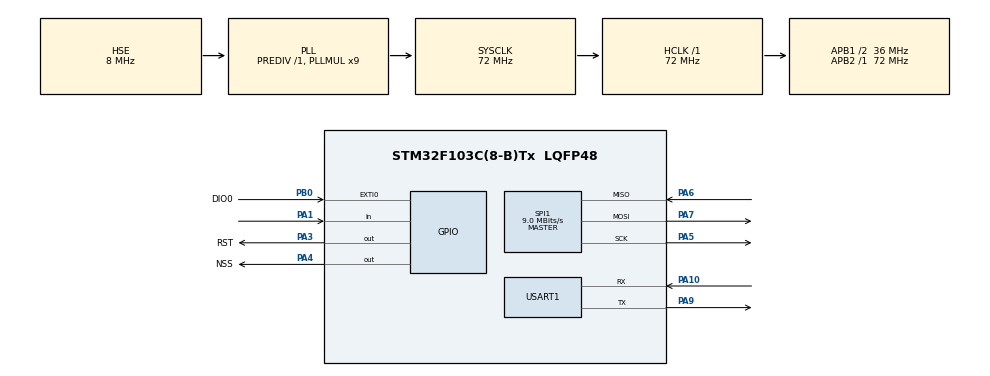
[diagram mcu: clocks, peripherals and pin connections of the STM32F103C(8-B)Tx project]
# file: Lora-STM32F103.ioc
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Mcu.Family=STM32F1
Mcu.Name=STM32F103C(8-B)Tx
Mcu.Package=LQFP48
NVIC.EXTI0_IRQn=true\:0\:0\:false\:false\:true\:true\:true\:true
NVIC.PriorityGroup=NVIC_PRIORITYGROUP_4
NVIC.SPI1_IRQn=true\:1\:0\:true\:false\:true\:true\:true\:true
NVIC.TIM2_IRQn=true\:0\:0\:false\:false\:true\:true\:true\:true
PA1.Signal=GPIO_Input
PA10.Mode=Asynchronous
PA10.Signal=USART1_RX
PA13.Mode=Serial_Wire
PA13.Signal=SYS_JTMS-SWDIO
PA14.Mode=Serial_Wire
PA14.Signal=SYS_JTCK-SWCLK
PA3.GPIO_Label=RST
PA3.Signal=GPIO_Output
PA4.GPIO_Label=NSS
PA4.Signal=GPIO_Output
PA5.Mode=Full_Duplex_Master
PA5.Signal=SPI1_SCK
PA6.Mode=Full_Duplex_Master
PA6.Signal=SPI1_MISO
PA7.Mode=Full_Duplex_Master
PA7.Signal=SPI1_MOSI
PA9.Mode=Asynchronous
PA9.Signal=USART1_TX
PB0.GPIO_Label=DIO0
PB0.Signal=GPXTI0
PD0-OSC_IN.Mode=HSE-External-Oscillator
PD0-OSC_IN.Signal=RCC_OSC_IN
PD1-OSC_OUT.Mode=HSE-External-Oscillator
PD1-OSC_OUT.Signal=RCC_OSC_OUT
ProjectManager.HeapSize=0x200
ProjectManager.StackSize=0x400
ProjectManager.TargetToolchain=STM32CubeIDE
RCC.AHBFreq_Value=72000000
RCC.APB1CLKDivider=RCC_HCLK_DIV2
RCC.APB1Freq_Value=36000000
RCC.APB1TimFreq_Value=72000000
RCC.APB2Freq_Value=72000000
RCC.APB2TimFreq_Value=72000000
RCC.HCLKFreq_Value=72000000
RCC.PLLMUL=RCC_PLL_MUL9
RCC.PLLSourceVirtual=RCC_PLLSOURCE_HSE
RCC.SYSCLKFreq_VALUE=72000000
RCC.SYSCLKSource=RCC_SYSCLKSOURCE_PLLCLK
RCC.USBFreq_Value=72000000
SPI1.BaudRatePrescaler=SPI_BAUDRATEPRESCALER_8
SPI1.CalculateBaudRate=9.0 MBits/s
SPI1.Direction=SPI_DIRECTION_2LINES
SPI1.Mode=SPI_MODE_MASTER
SPI1.VirtualType=VM_MASTER
TIM2.Period=0xffff-1
TIM2.Prescaler=72-1
USART1.VirtualMode=VM_ASYNC
VP_TIM2_VS_ClockSourceINT.Mode=Internal
board=custom

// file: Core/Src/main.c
/* USER CODE BEGIN Header */
/**
  ******************************************************************************
  * @file           : main.c
  * @brief          : Main program body
  ******************************************************************************
  * @attention
  *
  * Copyright (c) 2023 STMicroelectronics.
  * All rights reserved.
  *
  * This software is licensed under terms that can be found in the LICENSE file
  * in the root directory of this software component.
  * If no LICENSE file comes with this software, it is provided AS-IS.
  *
  ******************************************************************************
  */
/* USER CODE END Header */
#include "main.h"

/* USER CODE BEGIN Includes */
#include "lora.h"
#include "DHT11.h"
#include <string.h>
#include <stdio.h>
/* USER CODE END Includes */

/* USER CODE BEGIN PM */
#define TX											// Uncomment for Transmission
//#define RX										// Uncomment for Reception
/* USER CODE END PM */

SPI_HandleTypeDef hspi1;

TIM_HandleTypeDef htim2;

UART_HandleTypeDef huart1;

/* USER CODE BEGIN PV */
lora_pins_t lora_pins;							// Structure variable for lora pins
lora_t lora;									// Structure variable for lora
char msg[64];									// character buffer

uint8_t Rh_byte1, Rh_byte2, Temp_byte1, Temp_byte2;
uint16_t SUM, RH, TEMP;
float Temperature = 0;
float Humidity = 0;
uint8_t Presence = 0;
char buf[13];
char buf_humi[5];

/* USER CODE END PV */

void SystemClock_Config(void);
static void MX_GPIO_Init(void);
static void MX_SPI1_Init(void);
static void MX_USART1_UART_Init(void);
static void MX_TIM2_Init(void);

/* USER CODE BEGIN 0 */

void delay_us (uint16_t us)
{
	__HAL_TIM_SET_COUNTER(&htim2,0);  // set the counter value a 0
	while (__HAL_TIM_GET_COUNTER(&htim2) < us);  // wait for the counter to reach the us input in the parameter
}
/* USER CODE END 0 */

int main(void)
{

  /* MCU Configuration--------------------------------------------------------*/

  /* Reset of all peripherals, Initializes the Flash interface and the Systick. */
  HAL_Init();

  /* Configure the system clock */
  SystemClock_Config();

  /* Initialize all configured peripherals */
  MX_GPIO_Init();
  MX_SPI1_Init();
  MX_USART1_UART_Init();
  MX_TIM2_Init();
  /* USER CODE BEGIN 2 */
  HAL_TIM_Base_Start(&htim2); //delay us

  	lora_pins.dio0.port  = LORA_DIO0_PORT;
  	lora_pins.dio0.pin   = LORA_DIO0_PIN;
  	lora_pins.nss.port   = LORA_SS_PORT;			// NSS pin to which port is connected
  	lora_pins.nss.pin    = LORA_SS_PIN;				// NSS pin to which pin is connected
  	lora_pins.reset.port = LORA_RESET_PORT;			// RESET pin to which port is connected
  	lora_pins.reset.pin  = LORA_RESET_PIN;			// RESET pin to which pin is connected
  	lora_pins.spi  			 = &hspi1;

  	lora.pin = &lora_pins;
  	lora.frequency = FREQ_433MHZ;								// 433MHZ Frequency
  	//lora.frequency = FREQ_865MHZ;								// 865MHZ Frequency
  	//lora.frequency = FREQ_866MHZ;								// 866MHZ Frequency
  	//lora.frequency = FREQ_867MHZ;								// 867MHZ Frequency

  	while(lora_init(&lora)){								// Initialize the lora module
  			HAL_Delay(1000);
  		}
//#ifdef TX
//	uint16_t count =0;
//	sprintf(buf,"Nhat Kha Embedded");
//	#else
//	uint8_t ret;
//	#endif
  /* USER CODE END 2 */

  /* Infinite loop */
  while (1)
  {

    /* USER CODE BEGIN 3 */

	#ifdef TX
/* DHT11 process data BEGIN*/
		DHT11_Init(GPIOA, GPIO_PIN_1);
		Presence = DHT11_CheckRespone(GPIOA, GPIO_PIN_1);
		Rh_byte1 = DHT11_ReadData(GPIOA, GPIO_PIN_1);
		Rh_byte2 = DHT11_ReadData(GPIOA, GPIO_PIN_1);
		Temp_byte1 = DHT11_ReadData(GPIOA, GPIO_PIN_1);
		Temp_byte2 = DHT11_ReadData(GPIOA, GPIO_PIN_1);
		SUM = DHT11_ReadData(GPIOA, GPIO_PIN_1);
		TEMP = Temp_byte1;
		RH = Rh_byte1;
		HAL_Delay(100);
		Temperature = (float)((float)TEMP+((float)Temp_byte2/10));
		sprintf(buf,"%.2f\n",Temperature);
		Humidity = (float)((float)RH+((float)Rh_byte2/10));
		sprintf(buf_humi,"%.2f\n",Humidity);
		strcat(buf,buf_humi);
/* DHT11 process data END */

/* LORA send data BEGIN */
	  lora_begin_packet(&lora);
	  lora_tx(&lora, (uint8_t *)buf, strlen(buf));
	  lora_end_packet(&lora);
	  sprintf(msg, "Send packet :\n%s\r\n",buf);
	  HAL_UART_Transmit(&huart1,(uint8_t *)msg,strlen(msg),1000);	//code test
	  HAL_Delay(2000);
	  /* LORA send data END */
	#endif

		#ifdef RX
		ret = lora_prasePacket(&lora);
		if(ret){
			uint8_t i=0;
			while(lora_available(&lora)){
				buf[i] = lora_read(&lora);
				i++;
			}
			buf[i] = '\0';
			sprintf(msg,"%s\r\n",buf);
			HAL_UART_Transmit(&huart1,(uint8_t *)msg,strlen(msg),1000);
		}
		#endif
  }
  /* USER CODE END 3 */
}

void SystemClock_Config(void)
{
  RCC_OscInitTypeDef RCC_OscInitStruct = {0};
  RCC_ClkInitTypeDef RCC_ClkInitStruct = {0};

  /** Initializes the RCC Oscillators according to the specified parameters
  * in the RCC_OscInitTypeDef structure.
  */
  RCC_OscInitStruct.OscillatorType = RCC_OSCILLATORTYPE_HSE;
  RCC_OscInitStruct.HSEState = RCC_HSE_ON;
  RCC_OscInitStruct.HSEPredivValue = RCC_HSE_PREDIV_DIV1;
  RCC_OscInitStruct.HSIState = RCC_HSI_ON;
  RCC_OscInitStruct.PLL.PLLState = RCC_PLL_ON;
  RCC_OscInitStruct.PLL.PLLSource = RCC_PLLSOURCE_HSE;
  RCC_OscInitStruct.PLL.PLLMUL = RCC_PLL_MUL9;
  if (HAL_RCC_OscConfig(&RCC_OscInitStruct) != HAL_OK)
  {
    Error_Handler();
  }

  /** Initializes the CPU, AHB and APB buses clocks
  */
  RCC_ClkInitStruct.ClockType = RCC_CLOCKTYPE_HCLK|RCC_CLOCKTYPE_SYSCLK
                              |RCC_CLOCKTYPE_PCLK1|RCC_CLOCKTYPE_PCLK2;
  RCC_ClkInitStruct.SYSCLKSource = RCC_SYSCLKSOURCE_PLLCLK;
  RCC_ClkInitStruct.AHBCLKDivider = RCC_SYSCLK_DIV1;
  RCC_ClkInitStruct.APB1CLKDivider = RCC_HCLK_DIV2;
  RCC_ClkInitStruct.APB2CLKDivider = RCC_HCLK_DIV1;

  if (HAL_RCC_ClockConfig(&RCC_ClkInitStruct, FLASH_LATENCY_2) != HAL_OK)
  {
    Error_Handler();
  }
}

static void MX_SPI1_Init(void)
{

  /* SPI1 parameter configuration*/
  hspi1.Instance = SPI1;
  hspi1.Init.Mode = SPI_MODE_MASTER;
  hspi1.Init.Direction = SPI_DIRECTION_2LINES;
  hspi1.Init.DataSize = SPI_DATASIZE_8BIT;
  hspi1.Init.CLKPolarity = SPI_POLARITY_LOW;
  hspi1.Init.CLKPhase = SPI_PHASE_1EDGE;
  hspi1.Init.NSS = SPI_NSS_SOFT;
  hspi1.Init.BaudRatePrescaler = SPI_BAUDRATEPRESCALER_8;
  hspi1.Init.FirstBit = SPI_FIRSTBIT_MSB;
  hspi1.Init.TIMode = SPI_TIMODE_DISABLE;
  hspi1.Init.CRCCalculation = SPI_CRCCALCULATION_DISABLE;
  hspi1.Init.CRCPolynomial = 10;
  if (HAL_SPI_Init(&hspi1) != HAL_OK)
  {
    Error_Handler();
  }

}

static void MX_TIM2_Init(void)
{

  TIM_ClockConfigTypeDef sClockSourceConfig = {0};
  TIM_MasterConfigTypeDef sMasterConfig = {0};

  htim2.Instance = TIM2;
  htim2.Init.Prescaler = 72-1;
  htim2.Init.CounterMode = TIM_COUNTERMODE_UP;
  htim2.Init.Period = 0xffff-1;
  htim2.Init.ClockDivision = TIM_CLOCKDIVISION_DIV1;
  htim2.Init.AutoReloadPreload = TIM_AUTORELOAD_PRELOAD_DISABLE;
  if (HAL_TIM_Base_Init(&htim2) != HAL_OK)
  {
    Error_Handler();
  }
  sClockSourceConfig.ClockSource = TIM_CLOCKSOURCE_INTERNAL;
  if (HAL_TIM_ConfigClockSource(&htim2, &sClockSourceConfig) != HAL_OK)
  {
    Error_Handler();
  }
  sMasterConfig.MasterOutputTrigger = TIM_TRGO_RESET;
  sMasterConfig.MasterSlaveMode = TIM_MASTERSLAVEMODE_DISABLE;
  if (HAL_TIMEx_MasterConfigSynchronization(&htim2, &sMasterConfig) != HAL_OK)
  {
    Error_Handler();
  }

}

static void MX_USART1_UART_Init(void)
{

  huart1.Instance = USART1;
  huart1.Init.BaudRate = 115200;
  huart1.Init.WordLength = UART_WORDLENGTH_8B;
  huart1.Init.StopBits = UART_STOPBITS_1;
  huart1.Init.Parity = UART_PARITY_NONE;
  huart1.Init.Mode = UART_MODE_TX_RX;
  huart1.Init.HwFlowCtl = UART_HWCONTROL_NONE;
  huart1.Init.OverSampling = UART_OVERSAMPLING_16;
  if (HAL_UART_Init(&huart1) != HAL_OK)
  {
    Error_Handler();
  }

}

static void MX_GPIO_Init(void)
{
  GPIO_InitTypeDef GPIO_InitStruct = {0};

  /* GPIO Ports Clock Enable */
  __HAL_RCC_GPIOD_CLK_ENABLE();
  __HAL_RCC_GPIOA_CLK_ENABLE();
  __HAL_RCC_GPIOB_CLK_ENABLE();

  /*Configure GPIO pin Output Level */
  HAL_GPIO_WritePin(GPIOA, RST_Pin|NSS_Pin, GPIO_PIN_RESET);

  /*Configure GPIO pin : PA1 */
  GPIO_InitStruct.Pin = GPIO_PIN_1;
  GPIO_InitStruct.Mode = GPIO_MODE_INPUT;
  GPIO_InitStruct.Pull = GPIO_NOPULL;
  HAL_GPIO_Init(GPIOA, &GPIO_InitStruct);

  /*Configure GPIO pins : RST_Pin NSS_Pin */
  GPIO_InitStruct.Pin = RST_Pin|NSS_Pin;
  GPIO_InitStruct.Mode = GPIO_MODE_OUTPUT_PP;
  GPIO_InitStruct.Pull = GPIO_NOPULL;
  GPIO_InitStruct.Speed = GPIO_SPEED_FREQ_LOW;
  HAL_GPIO_Init(GPIOA, &GPIO_InitStruct);

  /*Configure GPIO pin : DIO0_Pin */
  GPIO_InitStruct.Pin = DIO0_Pin;
  GPIO_InitStruct.Mode = GPIO_MODE_IT_RISING;
  GPIO_InitStruct.Pull = GPIO_NOPULL;
  HAL_GPIO_Init(DIO0_GPIO_Port, &GPIO_InitStruct);

  /* EXTI interrupt init*/
  HAL_NVIC_SetPriority(EXTI0_IRQn, 0, 0);
  HAL_NVIC_EnableIRQ(EXTI0_IRQn);

}

void Error_Handler(void)
{
  __disable_irq();
  while (1)
  {
  }
}
